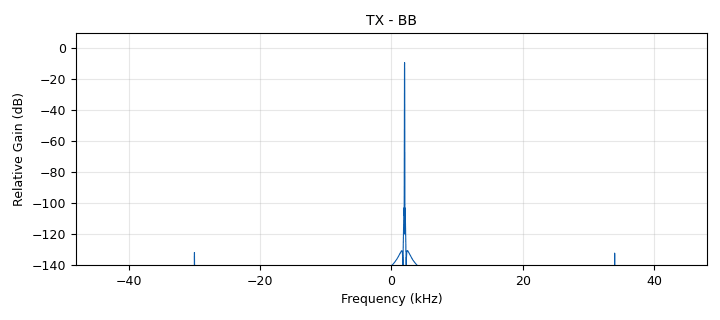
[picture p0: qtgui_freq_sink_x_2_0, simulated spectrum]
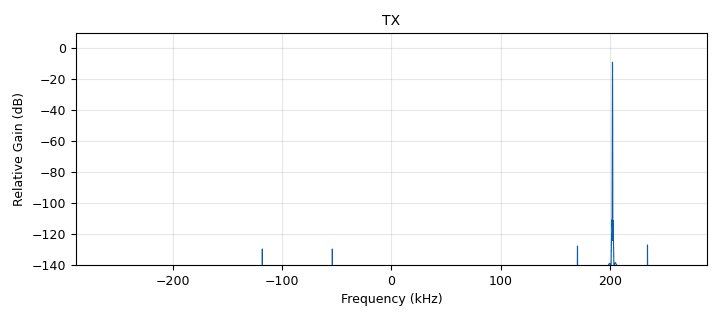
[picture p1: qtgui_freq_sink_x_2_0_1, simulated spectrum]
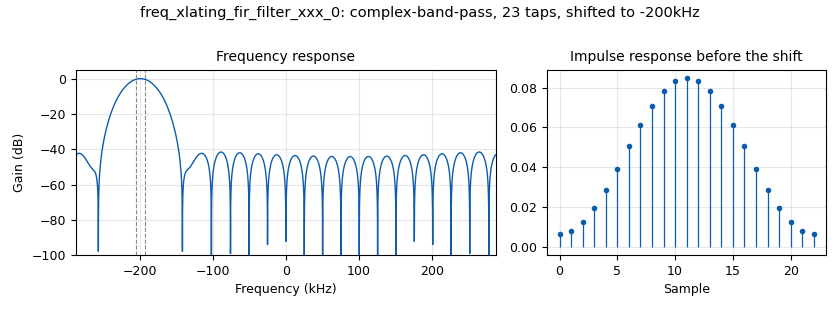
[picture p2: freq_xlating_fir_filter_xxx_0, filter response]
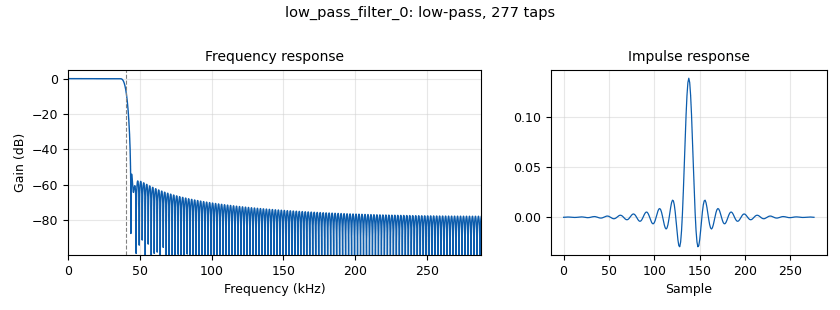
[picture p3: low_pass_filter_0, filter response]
options:
  parameters:
    author: art3m1sf0wl
    generate_options: qt_gui
    id: my_test_working
    output_language: python
    title: Not titled yet
  states: {}

blocks:
- name: BP_tx_band
  id: variable
  parameters:
    value: '70000'
  states: {}
- name: RX_rf_gain
  id: variable_qtgui_range
  parameters:
    start: '0'
    step: '1'
    stop: '50'
    value: '0'
  states: {}
- name: TX_rf_gain
  id: variable_qtgui_range
  parameters:
    start: '0'
    step: '1'
    stop: '50'
    value: '30'
  states: {}
- name: Vector_IN_dim
  id: variable
  parameters:
    value: '1'
  states: {}
- name: bitrate
  id: variable
  parameters:
    value: samp_rate/sps
  states: {}
- name: bt
  id: variable
  parameters:
    value: '0.5'
  states: {}
- name: carrier_
  id: variable
  parameters:
    value: wanted_carrier - up_conv_freq
  states: {}
- name: carrier_rx
  id: variable
  parameters:
    value: 437.7e6
  states: {}
- name: down_conv_freq
  id: variable
  parameters:
    value: '-200e3'
  states: {}
- name: f_dev
  id: variable
  parameters:
    value: '2400'
  states: {}
- name: gaussian_taps
  id: variable
  parameters:
    value: firdes.gaussian(1.0, sps, bt, ntaps)
  states: {}
- name: ntaps
  id: variable
  parameters:
    value: sps*4
  states: {}
- name: pkt_len
  id: variable
  parameters:
    value: '256'
  states: {}
- name: samp_rate
  id: variable
  parameters:
    value: '96000'
  states: {}
- name: sdr_samp_rate
  id: variable
  parameters:
    value: '576000'
  states: {}
- name: sens_
  id: variable
  parameters:
    value: (2*math.pi*f_dev)/samp_rate
  states: {}
- name: sps
  id: variable
  parameters:
    value: '10'
  states: {}
- name: squelch_
  id: variable_qtgui_range
  parameters:
    start: '-100'
    step: '1'
    stop: '0'
    value: '-60'
  states: {}
- name: sqwave
  id: variable
  parameters:
    value: (1,) * sps
  states: {}
- name: taps
  id: variable
  parameters:
    value: numpy.convolve(numpy.array(gaussian_taps),numpy.array(sqwave))
  states: {}
- name: up_conv_freq
  id: variable
  parameters:
    value: 200e3
  states: {}
- name: wanted_carrier
  id: variable
  parameters:
    value: 437.5e6
  states: {}
- name: analog_feedforward_agc_cc_0
  id: analog_feedforward_agc_cc
  parameters:
    num_samples: '1024'
    reference: '1'
  states: {}
- name: analog_sig_source_x_0
  id: analog_sig_source_x
  parameters:
    amp: '1'
    freq: '2000'
    offset: '0'
    phase: '0'
    samp_rate: samp_rate
    type: complex
    waveform: analog.GR_COS_WAVE
  states: {}
- name: analog_sig_source_x_0_1
  id: analog_sig_source_x
  parameters:
    amp: '1'
    freq: up_conv_freq
    offset: '0'
    phase: '0'
    samp_rate: sdr_samp_rate
    type: complex
    waveform: analog.GR_COS_WAVE
  states: {}
- name: analog_simple_squelch_cc_0
  id: analog_simple_squelch_cc
  parameters:
    alpha: '1'
    threshold: squelch_
  states: {}
- name: blocks_multiply_xx_0_1
  id: blocks_multiply_xx
  parameters:
    comment: UP-Conversion -> 1MHz
    type: complex
  states: {}
- name: freq_xlating_fir_filter_xxx_0
  id: freq_xlating_fir_filter_xxx
  parameters:
    center_freq: down_conv_freq
    decim: '1'
    samp_rate: sdr_samp_rate
    taps: ' firdes.complex_band_pass(1, samp_rate, -samp_rate/100, samp_rate/100, 10000)'
    type: ccc
  states: {}
- name: import_0
  id: import
  parameters:
    imports: import numpy
  states: {}
- name: import_1
  id: import
  parameters:
    imports: import math
  states: {}
- name: low_pass_filter_0
  id: low_pass_filter
  parameters:
    cutoff_freq: '40000'
    decim: '1'
    gain: '1'
    samp_rate: sdr_samp_rate
    type: fir_filter_ccf
    width: '5000'
    win: window.WIN_HAMMING
  states: {}
- name: osmosdr_sink_0
  id: osmosdr_sink
  parameters:
    ant0: TX1
    args: '"bladerf=0,nchan=1,verbosity=verbose"'
    bb_gain0: '20'
    bw0: sdr_samp_rate
    comment: TX_freq => 437.5MHz
    freq0: 415.4e6
    gain0: TX_rf_gain
    if_gain0: '20'
    sample_rate: sdr_samp_rate
    sync: sync
    type: fc32
  states: {}
- name: osmosdr_source_0
  id: osmosdr_source
  parameters:
    ant0: RX1
    args: '"bladerf=0,nchan=1,buffers=48,transfers=24,agc_mode=manual"'
    bb_gain0: '10'
    freq0: 415.4e6
    gain0: RX_rf_gain
    gain_mode0: 'False'
    if_gain0: '10'
    sample_rate: sdr_samp_rate
    sync: sync
    type: fc32
  states: {}
- name: qtgui_freq_sink_x_0_1
  id: qtgui_freq_sink_x
  parameters:
    bw: '96000'
    fc: '0'
    fftsize: '8192'
    name: after Xlating
    type: complex
    wintype: window.WIN_HANN
    ymin: '-150'
  states: {}
- name: qtgui_freq_sink_x_1
  id: qtgui_freq_sink_x
  parameters:
    bw: samp_rate*6
    fc: '0'
    fftsize: '4096'
    name: '"RX spectrum"'
    type: complex
  states: {}
- name: qtgui_freq_sink_x_2_0
  id: qtgui_freq_sink_x
  parameters:
    bw: samp_rate
    fc: '0'
    fftsize: '8192'
    name: TX - BB
    showports: 'True'
    type: complex
  states: {}
- name: qtgui_freq_sink_x_2_0_1
  id: qtgui_freq_sink_x
  parameters:
    bw: 576e3
    fc: '0'
    fftsize: '8192'
    name: TX
    showports: 'True'
    type: complex
  states: {}
- name: qtgui_time_sink_x_0_0
  id: qtgui_time_sink_x
  parameters:
    ctrlpanel: 'True'
    name: '"Time Rx"'
    size: '1024'
    srate: samp_rate
    type: complex
  states: {}
- name: qtgui_waterfall_sink_x_0
  id: qtgui_waterfall_sink_x
  parameters:
    bw: sdr_samp_rate
    fc: '0'
    fftsize: '1024'
    name: '"RX Waterfall"'
    type: complex
  states: {}
- name: rational_resampler_xxx_0
  id: rational_resampler_xxx
  parameters:
    decim: '1'
    interp: '6'
    type: ccc
  states: {}
- name: rational_resampler_xxx_0_0
  id: rational_resampler_xxx
  parameters:
    comment: 576ksps to 96ksps
    decim: '6'
    fbw: '0.4'
    interp: '1'
    type: ccc
  states: {}

connections:
- [analog_feedforward_agc_cc_0, '0', qtgui_time_sink_x_0_0, '0']
- [analog_sig_source_x_0, '0', qtgui_freq_sink_x_2_0, '0']
- [analog_sig_source_x_0, '0', rational_resampler_xxx_0, '0']
- [analog_sig_source_x_0_1, '0', blocks_multiply_xx_0_1, '1']
- [analog_simple_squelch_cc_0, '0', analog_feedforward_agc_cc_0, '0']
- [blocks_multiply_xx_0_1, '0', osmosdr_sink_0, '0']
- [blocks_multiply_xx_0_1, '0', qtgui_freq_sink_x_2_0_1, '0']
- [freq_xlating_fir_filter_xxx_0, '0', rational_resampler_xxx_0_0, '0']
- [low_pass_filter_0, '0', blocks_multiply_xx_0_1, '0']
- [osmosdr_source_0, '0', freq_xlating_fir_filter_xxx_0, '0']
- [osmosdr_source_0, '0', qtgui_freq_sink_x_1, '0']
- [osmosdr_source_0, '0', qtgui_waterfall_sink_x_0, '0']
- [rational_resampler_xxx_0, '0', low_pass_filter_0, '0']
- [rational_resampler_xxx_0_0, '0', analog_simple_squelch_cc_0, '0']
- [rational_resampler_xxx_0_0, '0', qtgui_freq_sink_x_0_1, '0']

metadata:
  file_format: 1
  grc_version: 3.10.5.1
